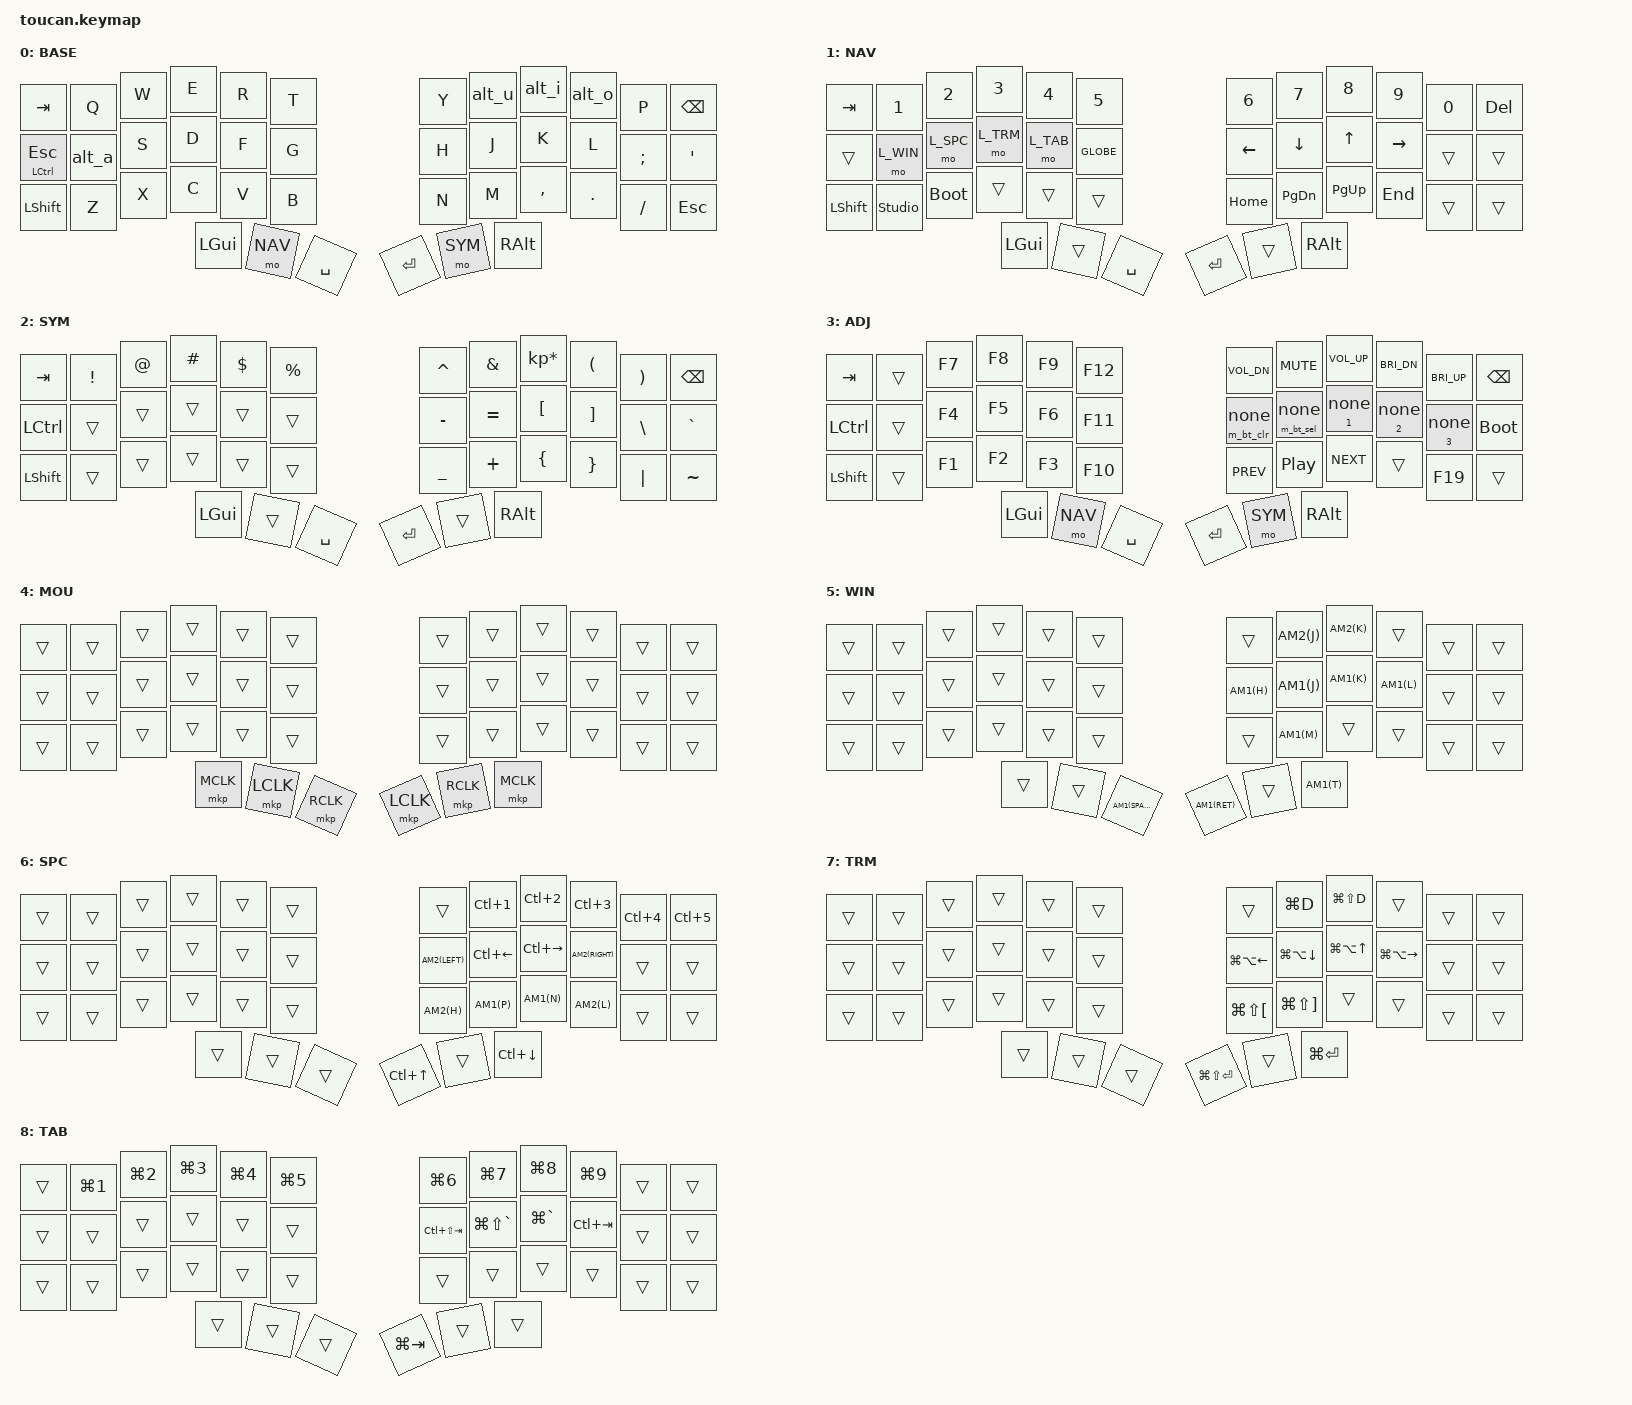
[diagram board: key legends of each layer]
#include <behaviors.dtsi>
#include <dt-bindings/zmk/keys.h>
#include <dt-bindings/zmk/bt.h>
#include <dt-bindings/zmk/outputs.h>
#include <dt-bindings/zmk/pointing.h>

#define BASE  0
#define NAV   1
#define SYM   2
#define ADJ   3
#define MOU   4
#define L_WIN 5   // NAV+A held: Amethyst windows on this screen
#define L_SPC 6   // NAV+S held: spaces and screens
#define L_TRM 7   // NAV+D held: iTerm panes
#define L_TAB 8   // NAV+F held: tabs and apps

// Amethyst mod1 = Option+Shift, mod2 = Control+Option+Shift
#define AM1(k) LA(LS(k))
#define AM2(k) LC(LA(LS(k)))

/ {
    // Right Option dead keys on the macOS ABC layout (iTerm passes right Option through).
    macros {
        m_ae: m_ae { compatible = "zmk,behavior-macro"; #binding-cells = <0>; bindings = <&kp RA(U) &kp A>; };
        m_ae_cap: m_ae_cap { compatible = "zmk,behavior-macro"; #binding-cells = <0>; bindings = <&kp RA(U) &kp LS(A)>; };
        m_ue: m_ue { compatible = "zmk,behavior-macro"; #binding-cells = <0>; bindings = <&kp RA(U) &kp U>; };
        m_ue_cap: m_ue_cap { compatible = "zmk,behavior-macro"; #binding-cells = <0>; bindings = <&kp RA(U) &kp LS(U)>; };
        m_oe: m_oe { compatible = "zmk,behavior-macro"; #binding-cells = <0>; bindings = <&kp RA(U) &kp O>; };
        m_oe_cap: m_oe_cap { compatible = "zmk,behavior-macro"; #binding-cells = <0>; bindings = <&kp RA(U) &kp LS(O)>; };
        m_ot: m_ot { compatible = "zmk,behavior-macro"; #binding-cells = <0>; bindings = <&kp RA(N) &kp O>; };
        m_ot_cap: m_ot_cap { compatible = "zmk,behavior-macro"; #binding-cells = <0>; bindings = <&kp RA(N) &kp LS(O)>; };
        m_bt_clr: m_bt_clr { compatible = "zmk,behavior-macro"; #binding-cells = <0>; bindings = <&bt BT_CLR>; };
        m_bt_sel: m_bt_sel { compatible = "zmk,behavior-macro-one-param"; #binding-cells = <1>; bindings = <&macro_param_1to2 &bt BT_SEL MACRO_PLACEHOLDER>; };
    };

    // Shift picks the capital variant.
    behaviors {
        ae: ae { compatible = "zmk,behavior-mod-morph"; #binding-cells = <0>; bindings = <&m_ae>, <&m_ae_cap>; mods = <(MOD_LSFT|MOD_RSFT)>; };
        ue: ue { compatible = "zmk,behavior-mod-morph"; #binding-cells = <0>; bindings = <&m_ue>, <&m_ue_cap>; mods = <(MOD_LSFT|MOD_RSFT)>; };
        oe: oe { compatible = "zmk,behavior-mod-morph"; #binding-cells = <0>; bindings = <&m_oe>, <&m_oe_cap>; mods = <(MOD_LSFT|MOD_RSFT)>; };
        ot: ot { compatible = "zmk,behavior-mod-morph"; #binding-cells = <0>; bindings = <&m_ot>, <&m_ot_cap>; mods = <(MOD_LSFT|MOD_RSFT)>; };
        // Option (right thumb) + vowel types the Estonian letter; other Option chords pass through.
        alt_a: alt_a { compatible = "zmk,behavior-mod-morph"; #binding-cells = <0>; bindings = <&kp A>, <&ae>; mods = <(MOD_LALT|MOD_RALT)>; };
        alt_u: alt_u { compatible = "zmk,behavior-mod-morph"; #binding-cells = <0>; bindings = <&kp U>, <&ue>; mods = <(MOD_LALT|MOD_RALT)>; };
        alt_i: alt_i { compatible = "zmk,behavior-mod-morph"; #binding-cells = <0>; bindings = <&kp I>, <&ot>; mods = <(MOD_LALT|MOD_RALT)>; };
        // Bluetooth keys fire only after a 1 s hold; a tap does nothing (stray ADJ+H cleared the Mac bond).
        bt_clr_hold: bt_clr_hold { compatible = "zmk,behavior-hold-tap"; #binding-cells = <2>; flavor = "tap-preferred"; tapping-term-ms = <1000>; bindings = <&m_bt_clr>, <&none>; };
        bt_sel_hold: bt_sel_hold { compatible = "zmk,behavior-hold-tap"; #binding-cells = <2>; flavor = "tap-preferred"; tapping-term-ms = <1000>; bindings = <&m_bt_sel>, <&none>; };
        alt_o: alt_o { compatible = "zmk,behavior-mod-morph"; #binding-cells = <0>; bindings = <&kp O>, <&oe>; mods = <(MOD_LALT|MOD_RALT)>; };
    };

    conditional_layers {
        compatible = "zmk,conditional-layers";
        tri_layer {
            if-layers = <NAV SYM>;
            then-layer = <ADJ>;
        };
    };

    keymap {
        compatible = "zmk,keymap";

        base {
            display-name = "BASE";
            bindings = <
                &kp TAB       &kp Q  &kp W &kp E &kp R &kp T   &kp Y &alt_u &alt_i    &alt_o  &kp P    &kp BSPC
                &mt LCTRL ESC &alt_a &kp S &kp D &kp F &kp G   &kp H &kp J  &kp K     &kp L   &kp SEMI &kp SQT
                &kp LSHFT     &kp Z  &kp X &kp C &kp V &kp B   &kp N &kp M  &kp COMMA &kp DOT &kp FSLH &kp ESC
                                    &kp LGUI &mo NAV &kp SPACE   &kp RET &mo SYM &kp RALT
            >;
        };

        nav {
            display-name = "NAV";
            bindings = <
                &kp TAB   &kp N1         &kp N2      &kp N3    &kp N4    &kp N5     &kp N6   &kp N7    &kp N8   &kp N9    &kp N0 &kp DEL
                &trans    &mo L_WIN      &mo L_SPC   &mo L_TRM &mo L_TAB &kp GLOBE  &kp LEFT &kp DOWN  &kp UP   &kp RIGHT &trans &trans
                &kp LSHFT &studio_unlock &bootloader &trans    &trans    &trans     &kp HOME &kp PG_DN &kp PG_UP &kp END  &trans &trans
                                             &kp LGUI &trans &kp SPACE   &kp RET &trans &kp RALT
            >;
        };

        sym {
            display-name = "SYM";
            bindings = <
                &kp TAB   &kp EXCL &kp AT &kp HASH &kp DLLR &kp PRCNT   &kp CARET &kp AMPS  &kp KP_MULTIPLY &kp LPAR &kp RPAR &kp BSPC
                &kp LCTRL &trans   &trans &trans   &trans   &trans      &kp MINUS &kp EQUAL &kp LBKT        &kp RBKT &kp BSLH &kp GRAVE
                &kp LSHFT &trans   &trans &trans   &trans   &trans      &kp UNDER &kp PLUS  &kp LBRC        &kp RBRC &kp PIPE &kp TILDE
                                          &kp LGUI &trans   &kp SPACE   &kp RET   &trans    &kp RALT
            >;
        };

        adj {
            display-name = "ADJ";
            bindings = <
                &kp TAB   &trans &kp F7 &kp F8 &kp F9 &kp F12   &kp C_VOL_DN &kp C_MUTE   &kp C_VOL_UP &kp C_BRI_DN &kp C_BRI_UP &kp BSPC
                &kp LCTRL &trans &kp F4 &kp F5 &kp F6 &kp F11   &bt_clr_hold 0 0 &bt_sel_hold 0 0 &bt_sel_hold 1 0 &bt_sel_hold 2 0 &bt_sel_hold 3 0 &bootloader
                &kp LSHFT &trans &kp F1 &kp F2 &kp F3 &kp F10   &kp C_PREV   &kp C_PP     &kp C_NEXT   &trans       &kp F19      &trans
                                   &kp LGUI &mo NAV &kp SPACE   &kp RET &mo SYM &kp RALT
            >;
        };

        mouse {
            display-name = "MOU";
            bindings = <
                &trans &trans &trans &trans &trans &trans           &trans &trans &trans &trans &trans &trans
                &trans &trans &trans &trans &trans &trans           &trans &trans &trans &trans &trans &trans
                &trans &trans &trans &trans &trans &trans           &trans &trans &trans &trans &trans &trans
                            &mkp MCLK &mkp LCLK &mkp RCLK           &mkp LCLK &mkp RCLK &mkp MCLK
            >;
        };

        // NAV+A: J/K focus prev/next window, U/I move window prev/next, H/L shrink/grow main pane,
        //        M focus main, Enter swap with main, Space cycle layout, Alt-thumb toggle float
        win {
            display-name = "WIN";
            bindings = <
                &trans &trans &trans &trans &trans &trans   &trans     &kp AM2(J) &kp AM2(K) &trans     &trans &trans
                &trans &trans &trans &trans &trans &trans   &kp AM1(H) &kp AM1(J) &kp AM1(K) &kp AM1(L) &trans &trans
                &trans &trans &trans &trans &trans &trans   &trans     &kp AM1(M) &trans     &trans     &trans &trans
                                  &trans &trans &kp AM1(SPACE)   &kp AM1(RET) &trans &kp AM1(T)
            >;
        };

        // NAV+S: J/K previous/next space, H/L throw window to space left/right,
        //        U..BSPC go to space 1-5, M/, focus previous/next screen, N/. throw window to previous/next screen,
        //        right thumbs Mission Control / App Expose
        spaces {
            display-name = "SPC";
            bindings = <
                &trans &trans &trans &trans &trans &trans   &trans        &kp LC(N1)   &kp LC(N2)    &kp LC(N3)     &kp LC(N4) &kp LC(N5)
                &trans &trans &trans &trans &trans &trans   &kp AM2(LEFT) &kp LC(LEFT) &kp LC(RIGHT) &kp AM2(RIGHT) &trans     &trans
                &trans &trans &trans &trans &trans &trans   &kp AM2(H)    &kp AM1(P)   &kp AM1(N)    &kp AM2(L)     &trans     &trans
                                            &trans &trans &trans   &kp LC(UP) &trans &kp LC(DOWN)
            >;
        };

        // NAV+D (iTerm): H/J/K/L select pane left/down/up/right, U/I split vertical/horizontal,
        //        N/M previous/next tab, Enter maximize pane, Alt-thumb fullscreen
        term {
            display-name = "TRM";
            bindings = <
                &trans &trans &trans &trans &trans &trans   &trans           &kp LG(D)        &kp LG(LS(D))  &trans            &trans &trans
                &trans &trans &trans &trans &trans &trans   &kp LG(LA(LEFT)) &kp LG(LA(DOWN)) &kp LG(LA(UP)) &kp LG(LA(RIGHT)) &trans &trans
                &trans &trans &trans &trans &trans &trans   &kp LG(LS(LBKT)) &kp LG(LS(RBKT)) &trans         &trans            &trans &trans
                                           &trans &trans &trans   &kp LG(LS(RET)) &trans &kp LG(RET)
            >;
        };

        // NAV+F: H/L previous/next tab, J/K previous/next window of this app, digits tab N, Enter last app
        tabs {
            display-name = "TAB";
            bindings = <
                &trans &kp LG(N1) &kp LG(N2) &kp LG(N3) &kp LG(N4) &kp LG(N5)   &kp LG(N6)      &kp LG(N7)         &kp LG(N8)    &kp LG(N9)  &trans &trans
                &trans &trans     &trans     &trans     &trans     &trans       &kp LC(LS(TAB)) &kp LG(LS(GRAVE))  &kp LG(GRAVE) &kp LC(TAB) &trans &trans
                &trans &trans     &trans     &trans     &trans     &trans       &trans          &trans             &trans        &trans      &trans &trans
                                                  &trans &trans &trans   &kp LG(TAB) &trans &trans
            >;
        };

        extra_9 {
            status = "reserved";
        };

        extra_10 {
            status = "reserved";
        };
    };
};
